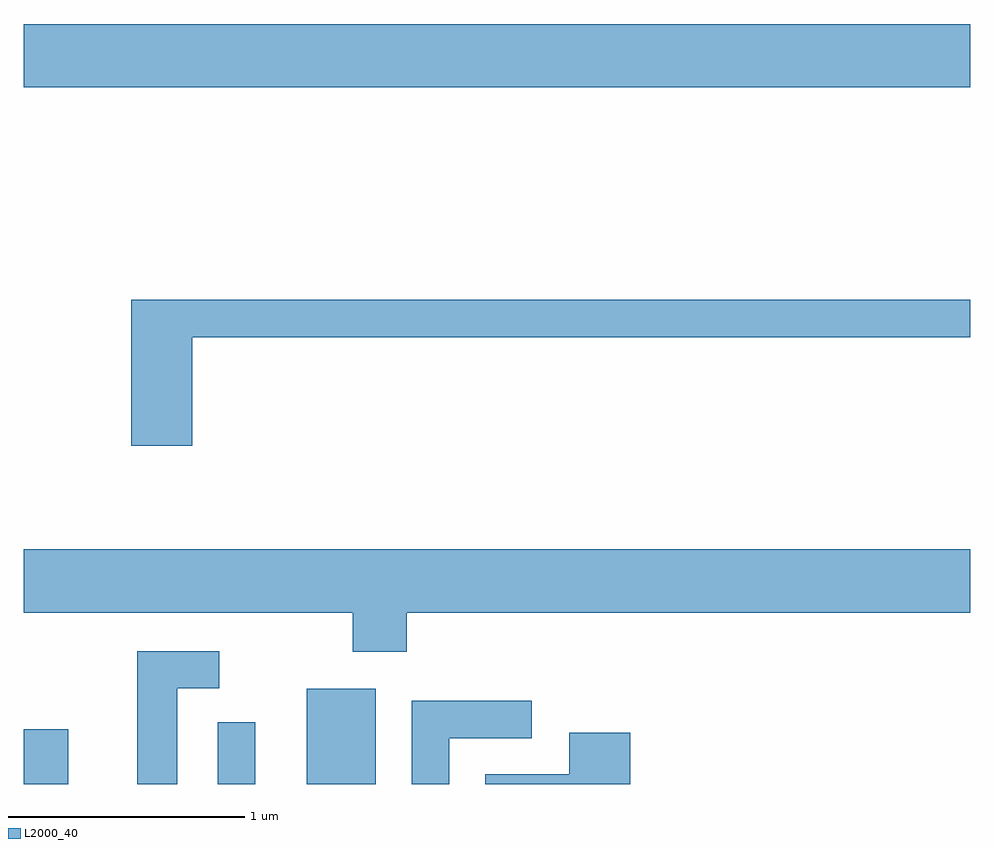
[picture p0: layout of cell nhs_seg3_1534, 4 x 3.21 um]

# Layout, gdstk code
import gdstk
lib = gdstk.Library(unit=1e-6, precision=1e-09)
def R(c, l, rs):  # rectangles x0, y0, x1, y1
    for r in rs: c.add(gdstk.rectangle(r[:2], r[2:], *l))
def P(c, l, *ps):  # polygons
    for p in ps: c.add(gdstk.Polygon(p, *l))
L2000_40 = (2000, 40)

nhs_seg3_1534 = lib.new_cell('nhs_seg3_1534')
R(nhs_seg3_1534, L2000_40, [(229.611,1191.892,229.799,1192.124), (230.431,1191.892,230.589,1192.153), (230.806,1191.892,231.099,1192.294), (229.611,1194.836,233.611,1195.104)])
P(nhs_seg3_1534, L2000_40, [(230.324,1193.781),(233.611,1193.781),(233.611,1193.939),(230.066,1193.939),(230.066,1193.321),(230.324,1193.321)],
  [(231.229,1192.616),(233.611,1192.616),(233.611,1192.884),(229.611,1192.884),(229.611,1192.616),(231.001,1192.616),(231.001,1192.451),(231.229,1192.451)],
  [(230.259,1192.296),(230.438,1192.296),(230.438,1192.454),(230.091,1192.454),(230.091,1191.892),(230.259,1191.892)],
  [(231.409,1192.086),(231.758,1192.086),(231.758,1192.244),(231.251,1192.244),(231.251,1191.892),(231.409,1191.892)],
  [(232.174,1192.109),(231.916,1192.109),(231.916,1191.934),(231.561,1191.934),(231.561,1191.892),(232.174,1191.892)])

lib.write_gds('nhs_seg3_1534.gds')
